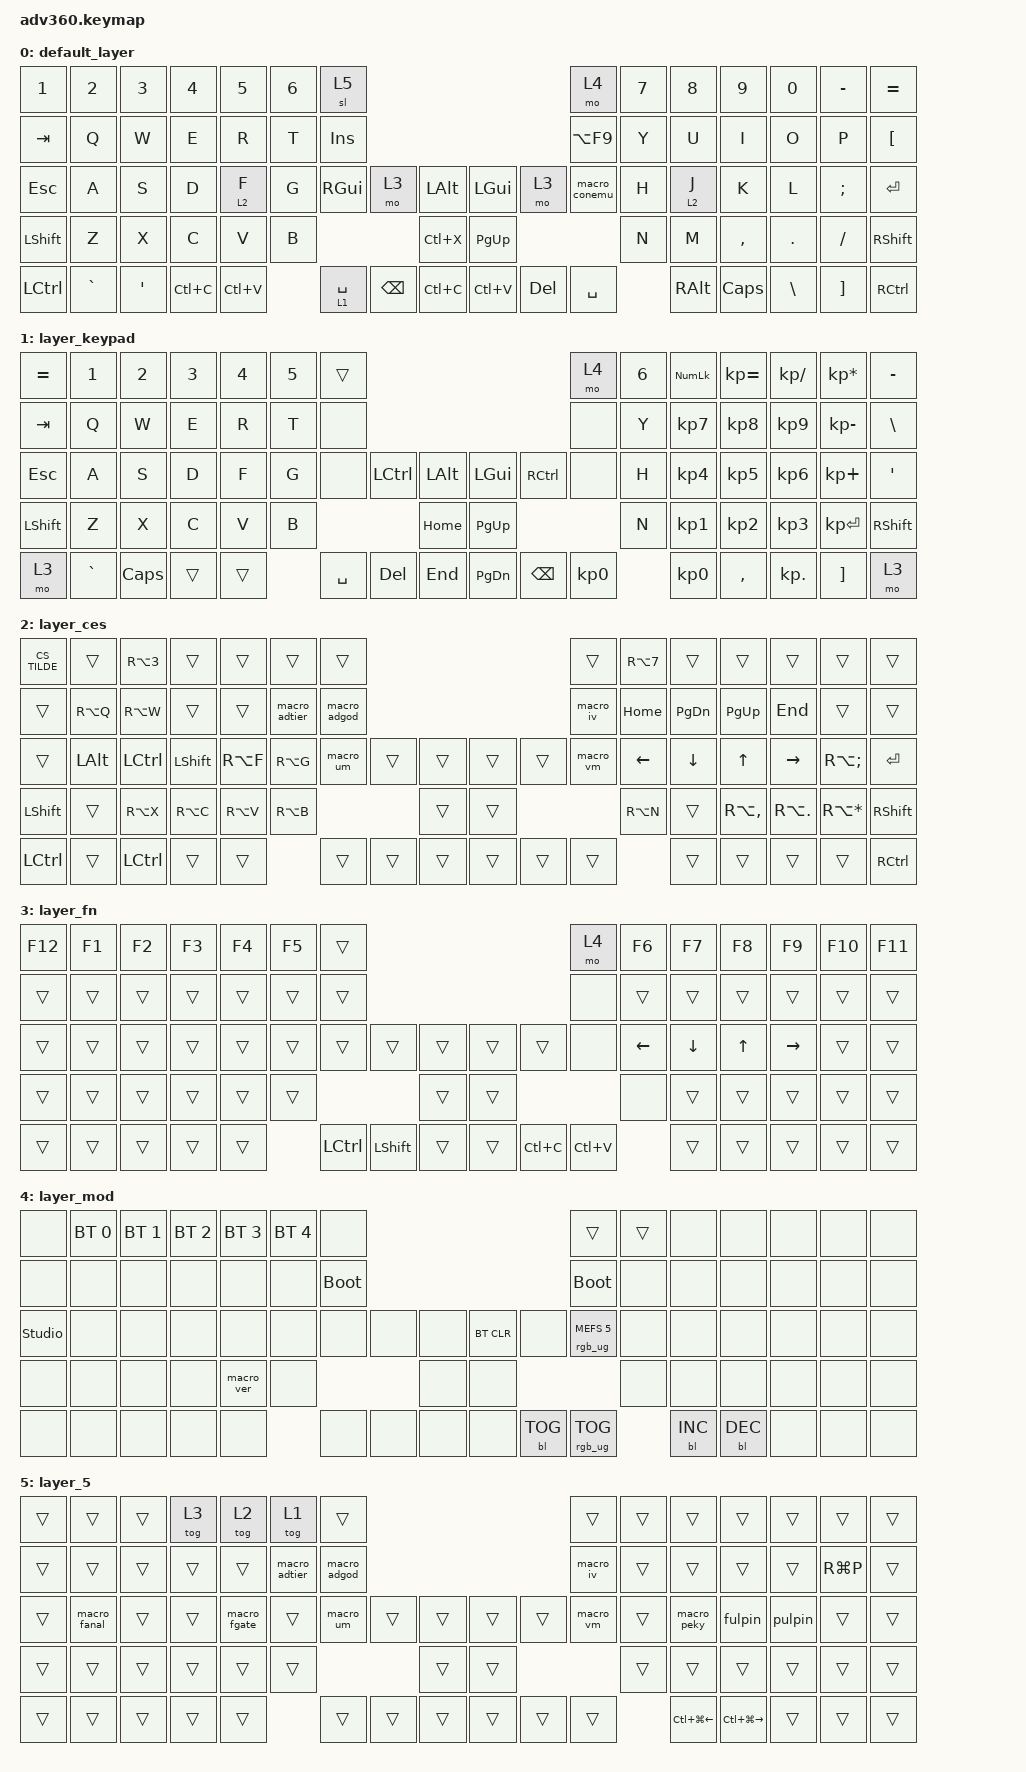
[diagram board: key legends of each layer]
/*
 * Copyright (c) 2020 The ZMK Contributors
 *
 * SPDX-License-Identifier: MIT
 */
/* THIS FILE WAS GENERATED!
 *
 * This file was generated automatically. You may or may not want to
 * edit it directly.
 */

#include "keys_cs.h"
#include <behaviors.dtsi>
#include <dt-bindings/zmk/backlight.h>
#include <dt-bindings/zmk/bt.h>
#include <dt-bindings/zmk/keys.h>
#include <dt-bindings/zmk/rgb.h>

/ {
    behaviors {
        macro_adgod: macro_adgod {
            compatible = "zmk,behavior-macro";
            label = "macro_adgod";
            #binding-cells = <0>;
            wait-ms = <30>;
            tap-ms = <40>;
            bindings =
                <&macro_press>,
                <&kp LSHFT>,
                <&macro_tap>,
                <&kp N>,
                <&macro_release>,
                <&kp LSHFT>,
                <&macro_tap>,
                <&kp T &kp L &kp KP_N0 &kp P &kp S &kp T>,
                <&macro_press>,
                <&kp LEFT_SHIFT>,
                <&macro_tap>,
                <&kp J>,
                <&macro_release>,
                <&kp LEFT_SHIFT>,
                <&macro_tap>,
                <&kp P &kp J &kp T &kp LS(M) &kp V &kp K &kp KP_NUMBER_1 &kp KP_NUMBER_2 &kp ENTER>;
        };

        macro_um: macro_um {
            compatible = "zmk,behavior-macro";
            label = "macro_um";
            #binding-cells = <0>;
            wait-ms = <30>;
            tap-ms = <40>;
            bindings =
                <&macro_press>,
                <&kp LSHFT>,
                <&macro_tap>,
                <&kp O>,
                <&macro_release>,
                <&kp LSHFT>,
                <&macro_tap>,
                <&kp N &kp K &kp O &kp M &kp I &kp L &kp A &kp KP_NUMBER_4 &kp KP_NUMBER_4 &kp ENTER>;
        };

        macro_conemu: macro_conemu {
            compatible = "zmk,behavior-macro";
            label = "macro_conemu";
            #binding-cells = <0>;
            wait-ms = <30>;
            tap-ms = <40>;
            bindings =
                <&macro_press>,
                <&kp LGUI>,
                <&macro_press>,
                <&kp LCTRL>,
                <&macro_tap>,
                <&kp J>,
                <&macro_release>,
                <&kp LGUI>,
                <&macro_release>,
                <&kp LCTRL>;
        };

        macro_iv: macro_iv {
            compatible = "zmk,behavior-macro";
            label = "macro_iv";
            #binding-cells = <0>;
            wait-ms = <30>;
            tap-ms = <40>;
            bindings =
                <&macro_tap>,
                <&kp V &kp L &kp A &kp D &kp I &kp S &kp L &kp A &kp V &kp DOT &kp U &kp H &kp E &kp R &kp TAB>,
                <&macro_tap>,
                <&kp M>,
                <&macro_press>,
                <&kp LSHFT>,
                <&macro_tap>,
                <&kp B>,
                <&macro_release>,
                <&kp LSHFT>,
                <&macro_tap>,
                <&kp KP_NUMBER_4 &kp J &kp A>,
                <&macro_press>,
                <&kp LSHFT>,
                <&macro_tap>,
                <&kp D>,
                <&macro_release>,
                <&kp LSHFT>,
                <&macro_tap>,
                <&kp J &kp KP_NUMBER_2 &kp D &kp M>,
                <&macro_press>,
                <&kp LSHFT>,
                <&macro_tap>,
                <&kp B>,
                <&macro_release>,
                <&kp LSHFT>,
                <&macro_tap>,
                <&kp KP_NUMBER_1 &kp J &kp B &kp M &kp S &kp ENTER>;
        };

        macro_vm: macro_vm {
            compatible = "zmk,behavior-macro";
            label = "macro_vm";
            #binding-cells = <0>;
            wait-ms = <30>;
            tap-ms = <40>;
            bindings =
                <&macro_tap>,
                <&kp V &kp S &kp P &kp H &kp E &kp R &kp E &kp DOT &kp L &kp O &kp C &kp A &kp L &kp RA(Q) &kp U &kp H &kp E &kp R &kp V &kp A &kp D &kp M &kp TAB>,
                <&macro_tap>,
                <&kp M>,
                <&macro_press>,
                <&kp LSHFT>,
                <&macro_tap>,
                <&kp B>,
                <&macro_release>,
                <&kp LSHFT>,
                <&macro_tap>,
                <&kp KP_NUMBER_4 &kp J &kp A>,
                <&macro_press>,
                <&kp LSHFT>,
                <&macro_tap>,
                <&kp D>,
                <&macro_release>,
                <&kp LSHFT>,
                <&macro_tap>,
                <&kp J &kp KP_NUMBER_2 &kp D &kp M>,
                <&macro_press>,
                <&kp LSHFT>,
                <&macro_tap>,
                <&kp B>,
                <&macro_release>,
                <&kp LSHFT>,
                <&macro_tap>,
                <&kp KP_NUMBER_1 &kp J &kp B &kp M &kp S &kp RBKT &kp ENTER>;
        };

        macro_adtier: adtier {
            compatible = "zmk,behavior-macro";
            #binding-cells = <0>;
            bindings = <&kp S &kp LS(L) &kp P &kp D &kp M &kp P &kp A &kp B &kp N &kp P &kp P &kp A &kp N &kp B &kp KP_NUMBER_3 &kp S &kp K &kp A &kp ENTER>;
            label = "ADTIER";
        };

        macro_peky: macro_peky {
            compatible = "zmk,behavior-macro";
            #binding-cells = <0>;
            bindings = <&none &kp LS(J) &kp LS(E) &kp LS(D) &kp LS(N) &kp LS(O) &kp LS(U) &kp V &kp S &kp E &kp C &kp H &kp N &kp O &kp S &kp K &kp O &kp N &kp C &kp I &kp KP_NUMBER_2 &kp KP_NUMBER_0 &kp KP_NUMBER_1 &kp KP_NUMBER_9 &kp KP_N0 &kp KP_NUMBER_7 &kp RET>;
            label = "MACRO_PEKY";
        };

        pulpin: pulpin {
            compatible = "zmk,behavior-macro";
            #binding-cells = <0>;
            bindings = <&kp KP_NUMBER_5 &kp KP_NUMBER_7 &kp KP_NUMBER_6 &kp KP_NUMBER_5 &kp KP_ENTER>;
            label = "PULPIN";
        };

        fulpin: fulpin {
            compatible = "zmk,behavior-macro";
            #binding-cells = <0>;
            bindings = <&kp KP_NUMBER_5 &kp KP_NUMBER_7 &kp KP_NUMBER_6 &kp KP_NUMBER_5 &kp KP_NUMBER_0 &kp KP_NUMBER_4 &kp KP_NUMBER_9 &kp KP_NUMBER_0 &kp KP_ENTER>;
            label = "FULPIN";
        };

        macro_fanal: fanal {
            compatible = "zmk,behavior-macro";
            #binding-cells = <0>;
            bindings = <&kp U &kp H &kp E &kp R &kp V &kp A &kp D &kp M &kp TAB &kp P &kp O &kp H &kp L &kp E &kp D &kp KP_N2 &kp KP_N0 &kp KP_NUMBER_2 &kp KP_NUMBER_1 &kp ENTER>;
            label = "FANAL";
        };

        macro_fgate: fgate {
            compatible = "zmk,behavior-macro";
            #binding-cells = <0>;
            bindings = <&kp U &kp H &kp E &kp R &kp V &kp A &kp D &kp M &kp TAB &kp B &kp R &kp A &kp N &kp A &kp KP_NUMBER_2 &kp KP_N0 &kp KP_NUMBER_2 &kp KP_NUMBER_1 &kp RET>;
            label = "FGATE";
        };

        #include "version.dtsi"

        hm: homerow_mods {
            compatible = "zmk,behavior-hold-tap";
            label = "HOMEROW_MODS";
            #binding-cells = <2>;
            tapping-term-ms = <200>;
            quick_tap_ms = <175>;
            flavor = "tap-preferred";
            bindings = <&kp>, <&kp>;
        };
    };

    macros {
    };

    keymap {
        compatible = "zmk,keymap";

        default_layer {
            bindings = <
&kp N1     &kp N2     &kp NUMBER_3  &kp N4     &kp N5     &kp N6  &sl 5                                                       &mo 4          &kp N7  &kp N8         &kp N9     &kp N0    &kp MINUS  &kp EQUAL
&kp TAB    &kp Q      &kp W         &kp E      &kp R      &kp T   &kp INSERT                                                  &kp LA(F9)     &kp Y   &kp U          &kp I      &kp O     &kp P      &kp LBKT
&kp ESC    &kp A      &kp S         &kp D      &lt 2 F    &kp G   &kp RIGHT_GUI  &mo 3     &kp LALT       &kp LGUI   &mo 3    &macro_conemu  &kp H   &lt 2 J        &kp K      &kp L     &kp SEMI   &kp ENTER
&kp LSHFT  &kp Z      &kp X         &kp C      &kp V      &kp B                            &kp LC(X)      &kp PG_UP                          &kp N   &kp M          &kp COMMA  &kp DOT   &kp FSLH   &kp RSHFT
&kp LCTRL  &kp GRAVE  &kp APOS      &kp LC(C)  &kp LC(V)          &lt 1 SPACE    &kp BSPC  &kp LC(C)      &kp LC(V)  &kp DEL  &kp SPACE              &kp RIGHT_ALT  &kp CAPS   &kp BSLH  &kp RBKT   &kp RCTRL
            >;
        };

        layer_keypad {
            bindings = <
&kp EQUAL  &kp N1     &kp N2    &kp N3  &kp N4  &kp N5  &trans                                                        &mo 4      &kp N6  &kp KP_NUM  &kp KP_EQUAL  &kp KP_DIVIDE  &kp KP_MULTIPLY  &kp MINUS
&kp TAB    &kp Q      &kp W     &kp E   &kp R   &kp T   &none                                                         &none      &kp Y   &kp KP_N7   &kp KP_N8     &kp KP_N9      &kp KP_MINUS     &kp BSLH
&kp ESC    &kp A      &kp S     &kp D   &kp F   &kp G   &none      &kp LCTRL  &kp LALT      &kp LGUI   &kp RCTRL      &none      &kp H   &kp KP_N4   &kp KP_N5     &kp KP_N6      &kp KP_PLUS      &kp SQT
&kp LSHFT  &kp Z      &kp X     &kp C   &kp V   &kp B                         &kp HOME      &kp PG_UP                            &kp N   &kp KP_N1   &kp KP_N2     &kp KP_N3      &kp KP_ENTER     &kp RSHFT
&mo 3      &kp GRAVE  &kp CAPS  &trans  &trans          &kp SPACE  &kp DEL    &kp END       &kp PG_DN  &kp BACKSPACE  &kp KP_N0          &kp KP_N0   &kp COMMA     &kp KP_DOT     &kp RBKT         &mo 3
            >;
        };

        layer_ces {
            bindings = <
&kp CS_TILDE  &trans        &kp RA(NUMBER_3)  &trans          &trans     &trans         &trans                                            &trans     &kp RA(N7)      &trans          &trans         &trans       &trans            &trans
&trans        &kp RA(Q)     &kp RA(W)         &trans          &trans     &macro_adtier  &macro_adgod                                      &macro_iv  &kp HOME        &kp PAGE_DOWN   &kp PAGE_UP    &kp END      &trans            &trans
&trans        &kp LEFT_ALT  &kp LEFT_CONTROL  &kp LEFT_SHIFT  &kp RA(F)  &kp RA(G)      &macro_um     &trans  &trans      &trans  &trans  &macro_vm  &kp LEFT_ARROW  &kp DOWN_ARROW  &kp UP_ARROW   &kp RIGHT    &kp RA(SEMI)      &kp ENTER
&kp LSHIFT    &trans        &kp RA(X)         &kp RA(C)       &kp RA(V)  &kp RA(B)                            &trans      &trans                     &kp RA(N)       &trans          &kp RA(COMMA)  &kp RA(DOT)  &kp RA(ASTERISK)  &kp RSHFT
&kp LCTRL     &trans        &kp LEFT_CONTROL  &trans          &trans                    &trans        &trans  &trans      &trans  &trans  &trans                     &trans          &trans         &trans       &trans            &kp RCTRL
            >;
        };

        layer_fn {
            bindings = <
&kp F12  &kp F1  &kp F2  &kp F3  &kp F4  &kp F5  &trans                                               &mo 4      &kp F6    &kp F7    &kp F8  &kp F9     &kp F10  &kp F11
&trans   &trans  &trans  &trans  &trans  &trans  &trans                                               &none      &trans    &trans    &trans  &trans     &trans   &trans
&trans   &trans  &trans  &trans  &trans  &trans  &trans     &trans     &trans      &trans  &trans     &none      &kp LEFT  &kp DOWN  &kp UP  &kp RIGHT  &trans   &trans
&trans   &trans  &trans  &trans  &trans  &trans                        &trans      &trans                        &none     &trans    &trans  &trans     &trans   &trans
&trans   &trans  &trans  &trans  &trans          &kp LCTRL  &kp LSHFT  &trans      &trans  &kp LC(C)  &kp LC(V)            &trans    &trans  &trans     &trans   &trans
            >;
        };

        layer_mod {
            bindings = <
&none           &bt BT_SEL 0  &bt BT_SEL 1  &bt BT_SEL 2  &bt BT_SEL 3  &bt BT_SEL 4  &none                                                  &trans                  &trans  &none       &none       &none  &none  &none
&none           &none         &none         &none         &none         &none         &bootloader                                            &bootloader             &none   &none       &none       &none  &none  &none
&studio_unlock  &none         &none         &none         &none         &none         &none        &none  &none      &bt BT_CLR  &none       &rgb_ug RGB_MEFS_CMD 5  &none   &none       &none       &none  &none  &none
&none           &none         &none         &none         &macro_ver    &none                             &none      &none                                           &none   &none       &none       &none  &none  &none
&none           &none         &none         &none         &none                       &none        &none  &none      &none       &bl BL_TOG  &rgb_ug RGB_TOG                 &bl BL_INC  &bl BL_DEC  &none  &none  &none
            >;
        };

        layer_5 {
            bindings = <
&trans  &trans        &trans  &tog 3  &tog 2        &tog 1         &trans                                            &trans     &trans  &trans            &trans             &trans   &trans     &trans
&trans  &trans        &trans  &trans  &trans        &macro_adtier  &macro_adgod                                      &macro_iv  &trans  &trans            &trans             &trans   &kp RG(P)  &trans
&trans  &macro_fanal  &trans  &trans  &macro_fgate  &trans         &macro_um     &trans  &trans      &trans  &trans  &macro_vm  &trans  &macro_peky       &fulpin            &pulpin  &trans     &trans
&trans  &trans        &trans  &trans  &trans        &trans                               &trans      &trans                     &trans  &trans            &trans             &trans   &trans     &trans
&trans  &trans        &trans  &trans  &trans                       &trans        &trans  &trans      &trans  &trans  &trans             &kp LC(LG(LEFT))  &kp LC(LG(RIGHT))  &trans   &trans     &trans
            >;
        };
    };
};
